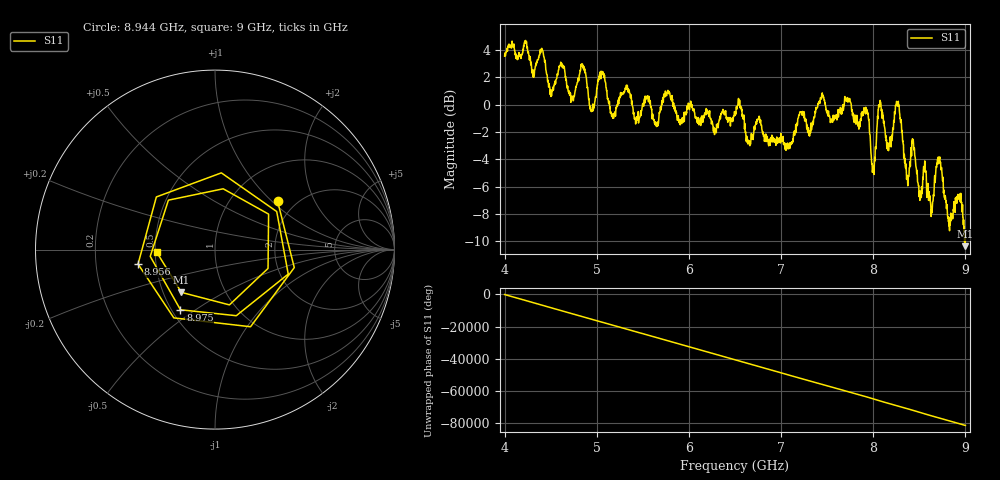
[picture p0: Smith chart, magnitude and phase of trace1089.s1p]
! Created with skrf 1.8.0 (http://scikit-rf.org).
# Hz S RI R 50.0
!freq ReS11 ImS11
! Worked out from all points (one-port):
!   1601 points, 4 GHz to 9 GHz, reference 50 ohm
!   lowest |S11| = -10.4 dB at 8.997 GHz (marker M1), VSWR 1.87, Z = 31 - j16.3 ohm
!   |S11| at or under -10 dB: 8.990809 GHz to 8.992654 GHz (1.845 MHz wide, 0.0205 % of centre); 8.994416 GHz to 8.998834 GHz (4.419 MHz wide, 0.0491 % of centre)
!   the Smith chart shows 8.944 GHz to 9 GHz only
!   S11 on the Smith chart (normalised r, x): 8.944 GHz: 1.62, +1.09; 8.956 GHz: 0.40, -0.08; 8.975 GHz: 0.55, -0.44; 9 GHz: 0.51, -0.02
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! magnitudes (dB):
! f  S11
! 4 GHz  3.6
! 4.406 GHz  4.0
! 4.509 GHz  0.6
! 4.625 GHz  3.0
! 4.731 GHz  0.4
! 4.853 GHz  2.8
! 4.944 GHz  -0.4
! 5.053 GHz  2.3
! 5.25 GHz  0.6
! 5.875 GHz  -1.2
! 6.5 GHz  -0.8
! 7.125 GHz  -2.7
! 7.75 GHz  0.2
! 7.928 GHz  -0.4
! 7.997 GHz  -4.8
! 8.069 GHz  -0.1
! 8.169 GHz  -3.1
! 8.266 GHz  -0.1
! 8.375 GHz  -5.9
! 8.431 GHz  -2.6
! 8.625 GHz  -7.5
! 8.706 GHz  -3.8
! 8.828 GHz  -9.2
! 8.944 GHz  -7.1
! 8.956 GHz  -7.2
! 8.975 GHz  -8.3
! 8.997 GHz  -10.4
! 9 GHz  -9.8
